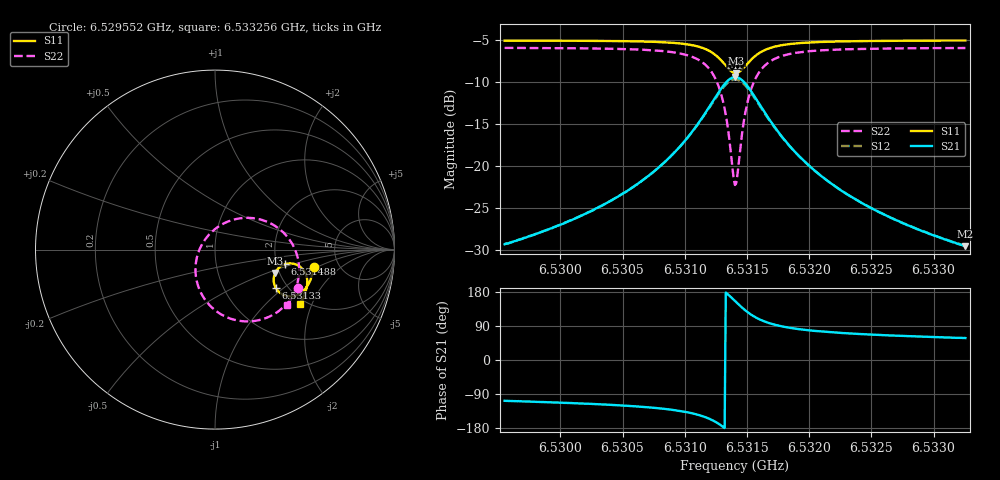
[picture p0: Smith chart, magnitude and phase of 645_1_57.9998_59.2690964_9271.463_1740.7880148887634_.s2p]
#  HZ  S  RI  R  50.00
! Rohde & Schwarz Vector Network Analyzer
! Rohde-Schwarz,ZNB20-2Port,1311601062101988,3.16
! Created: UTC 3/21/2024, 1:19:12 AM
! freq[Hz]  re:S11  im:S11  re:S21  im:S21  re:S12  im:S12  re:S22  im:S22
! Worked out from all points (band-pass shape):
!   401 points, 6.529552 GHz to 6.533256 GHz, reference 50 ohm
!   highest |S21| = -9.37 dB at 6.531404 GHz (marker M1); lowest = -29.5 dB at 6.533256 GHz (marker M2)
!   |S21| within 3 dB of the highest: 6.531221 GHz to 6.531591 GHz (370 kHz wide, 0.00567 % of centre)
!   lowest |S11| = -8.9 dB at 6.531414 GHz (marker M3), VSWR 2.12, Z = 94.8 - j28.4 ohm
!   |S11| at or under -10 dB: nowhere
!   |S22| runs from -22.2 to -5.9 dB; largest |S21 - S12| = 0.014
!   S11 on the Smith chart (normalised r, x): 6.529552 GHz: 3.26, -0.93; 6.53133 GHz: 1.74, -0.87; 6.531488 GHz: 2.21, -0.43; 6.533256 GHz: 1.84, -1.64
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6.5295524e9  0.5519 -0.0977  -0.0104 -0.0328  -0.0112 -0.0326  0.4597 -0.2153
6.5301728e9  0.5386 -0.1503  -0.0214 -0.0463  -0.0225 -0.0459  0.4239 -0.2737
6.5305339e9  0.5245 -0.1851  -0.0365 -0.061  -0.038 -0.0602  0.3848 -0.3177
6.5307932e9  0.5064 -0.2147  -0.0601 -0.0784  -0.0625 -0.0767  0.3319 -0.3579
6.5310061e9  0.4762 -0.2433  -0.1049 -0.0978  -0.1078 -0.0939  0.2423 -0.3936
6.5311728e9  0.4236 -0.2605  -0.1866 -0.1003  -0.1885 -0.0921  0.0942 -0.3872
6.5312654e9  0.3733 -0.2482  -0.264 -0.0624  -0.2612 -0.0511  -0.0316 -0.3082
6.5313024e9  0.3514 -0.2308  -0.2961 -0.0264  -0.2899 -0.0148  -0.078 -0.2413
6.5313302e9  0.3374 -0.2112  -0.3148 0.0114  -0.3059 0.0219  -0.1018 -0.1752
6.5313858e9  0.3273 -0.1582  -0.321 0.107  -0.3077 0.1122  -0.0934 -0.0175
6.5314043e9  0.3315 -0.1392  -0.3101 0.1397  -0.2969 0.1427  -0.0696 0.034
6.5314136e9  0.335 -0.1302  -0.3024 0.1553  -0.2893 0.157  -0.0542 0.0578
6.5314321e9  0.3449 -0.1135  -0.2828 0.1834  -0.2701 0.183  -0.0168 0.0998
6.5314506e9  0.3576 -0.0997  -0.2585 0.2065  -0.2472 0.2043  0.0267 0.1332
6.5314876e9  0.3877 -0.082  -0.2036 0.2358  -0.1954 0.2313  0.1214 0.1712
6.5315524e9  0.4379 -0.0788  -0.1164 0.2402  -0.1124 0.236  0.2675 0.1635
6.531645e9  0.4825 -0.1024  -0.0408 0.2044  -0.039 0.2019  0.3893 0.0869
6.5317839e9  0.5078 -0.1419  0.00368 0.1494  0.00485 0.1486  0.4542 -0.0219
6.5320247e9  0.514 -0.1893  0.0212 0.0949  0.0222 0.0946  0.4681 -0.1332
6.5323025e9  0.5077 -0.2251  0.0229 0.0646  0.0238 0.0642  0.4558 -0.2012
6.5326451e9  0.496 -0.2584  0.0212 0.0452  0.022 0.045  0.436 -0.2521
6.5332562e9  0.4715 -0.3058  0.0178 0.0284  0.0185 0.0282  0.401 -0.3099
